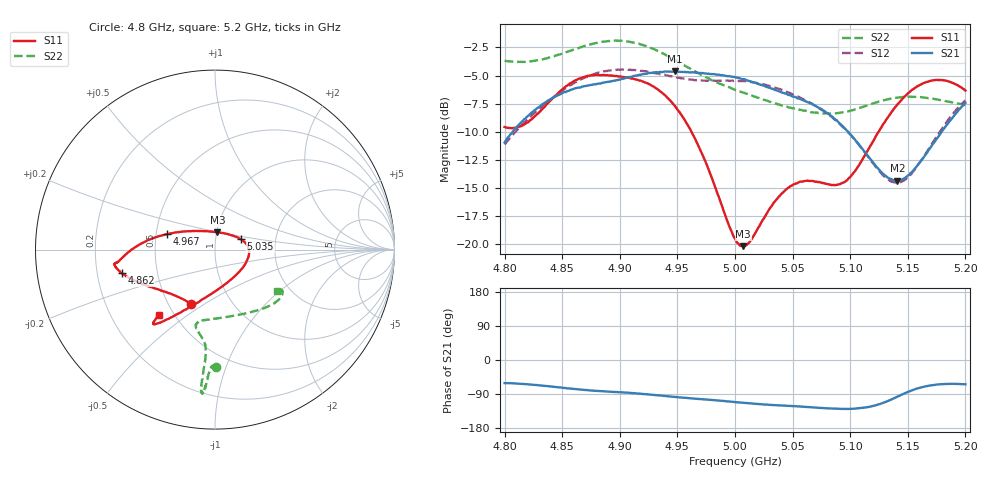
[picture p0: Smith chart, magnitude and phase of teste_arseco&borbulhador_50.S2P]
! Network Analyzer HP8722D
! Hewlett-Packard
! Data name: Linha & Wilkinson
! Saver's name: Rodrigo Anjos
! Comments: Teste da utilização de aquisição
! continua pelo VNA HP8722D
! Time and date: 15/4/2025 16:03
!  Frequency  S11  S21  S12  S22
# HZ  S  MA R 50
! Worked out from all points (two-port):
!   401 points, 4.8 GHz to 5.2 GHz, reference 50 ohm
!   highest |S21| = -4.64 dB at 4.948 GHz (marker M1); lowest = -14.4 dB at 5.141 GHz (marker M2)
!   |S21| within 3 dB of the highest: 4.832 GHz to 5.069 GHz (236.8 MHz wide, 4.78 % of centre); 5.198169 GHz to end of sweep
!   lowest |S11| = -20.2 dB at 5.007 GHz (marker M3), VSWR 1.22, Z = 50.4 + j9.85 ohm
!   |S11| at or under -10 dB: 4.962 GHz to 5.125 GHz (162.7 MHz wide, 3.23 % of centre)
!   |S22| runs from -8.4 to -1.9 dB; largest |S21 - S12| = 0.88
!   S11 on the Smith chart (normalised r, x): 4.8 GHz: 0.65, -0.44; 4.862 GHz: 0.31, -0.11; 4.967 GHz: 0.57, +0.11; 5.035 GHz: 1.33, +0.16; 5.2 GHz: 0.41, -0.39
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4.8e9  0.3315 -114.0  0.2829 -61.0  0.2772 -175.2  0.6546 -89.6
4.819e9  0.3459 -133.9  0.3665 -63.8  0.3545 -173.5  0.6486 -91.2
4.862e9  0.5367 -165.9  0.4941 -76.9  0.5263 -176.6  0.7397 -93.7
4.867e9  0.5496 -167.9  0.5015 -78.5  0.5418 -177.6  0.7542 -93.8
4.9e9  0.5568 -172.3  0.5386 -85.1  0.5964 175.6  0.8036 -95.1
4.934e9  0.4831 -178.3  0.5818 -93.5  0.5733 171.8  0.7188 -95.7
4.948e9  0.4102 175.1  0.5862 -97.5  0.554 171.9  0.6591 -95.4
4.967e9  0.2824 162.3  0.5787 -102.3  0.5353 173.9  0.58 -95.1
5e9  0.1056 106.2  0.553 -111.1  0.5338 176.3  0.4853 -99.4
5.007e9  0.09771 82.2  0.5415 -112.8  0.5308 176.2  0.4715 -101.1
5.014e9  0.1042 60.1  0.5288 -114.8  0.5259 175.9  0.4593 -102.5
5.035e9  0.1552 22.0  0.4852 -119.1  0.4961 174.9  0.4222 -103.9
5.05e9  0.183 6.2  0.453 -121.9  0.4624 174.3  0.4019 -100.4
5.067e9  0.1907 -12.0  0.4187 -124.9  0.4209 173.8  0.3855 -91.7
5.086e9  0.1831 -42.5  0.3624 -128.5  0.3605 173.7  0.3814 -77.6
5.097e9  0.1918 -65.5  0.32 -129.1  0.3191 174.3  0.3884 -68.4
5.134e9  0.3744 -116.5  0.1955 -106.5  0.1918 -159.3  0.4422 -43.4
5.141e9  0.4178 -120.4  0.1912 -96.7  0.1874 -148.3  0.4484 -40.2
5.153e9  0.4821 -125.3  0.2077 -80.7  0.2048 -129.8  0.4522 -35.9
5.17e9  0.5331 -128.8  0.2699 -67.0  0.2745 -112.9  0.4448 -32.2
5.184e9  0.5319 -130.2  0.3401 -63.2  0.3508 -107.3  0.4315 -31.1
5.2e9  0.482 -130.6  0.4247 -64.2  0.4361 -106.2  0.4152 -33.6
